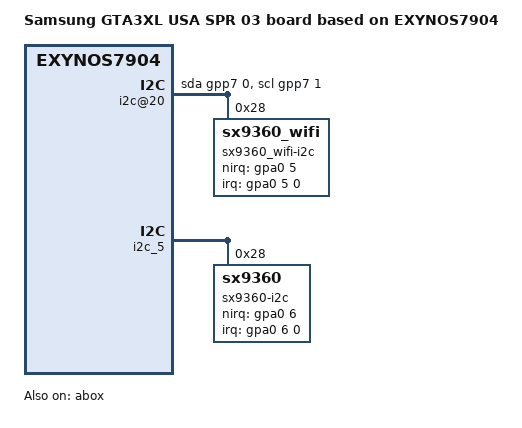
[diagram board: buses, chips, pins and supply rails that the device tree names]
/*
 * SAMSUNG EXYNOS7904 board device tree source

 *
 * Copyright (c) 2018 Samsung Electronics Co., Ltd.
 *		http://www.samsung.com
 *
 * This program is free software; you can redistribute it and/or modify
 * it under the terms of the GNU General Public License version 2 as
 * published by the Free Software Foundation.
*/

/dts-v1/;
/plugin/;

#include "exynos7904-gta3xl_common.dtsi"
#include "exynos7904-gta3xl_usa_spr_gpio_04.dtsi"
#include "ccic-s2mm005_gta3xllte_00.dtsi"
#include "modem-s327ap-sipc-highmem.dtsi"

/ {
	compatible = "samsung,GTA3XL USA SPR 03", "samsung,EXYNOS7904";

	dtbo-hw_rev = <4>;
    dtbo-hw_rev_end = <255>;


	fragment@model {
		target-path = "/";
		__overlay__ {
			#address-cells = <2>;
			#size-cells = <1>;

			model = "Samsung GTA3XL USA SPR 03 board based on EXYNOS7904";

			fm@14840000 {
				status = "okay";
				num-trfon-freq = <56>;
				val-trfon-freq = <87500 87600 88300 88400 89000 89100 89800 89900
					90600 90700 91300 91400 92100 92200 92900 93000 93600 93700
					94400 94500 95200 95300 96700 96800 97500 97600 98300 98400 99000 99800 99900 99100
					100000 100600 100700 101300 101400 101500 101600 102100 102200 102900 103000 103600
					103700 104000 104400 104500 105200 105300 105900 106000 106700 106800 107500 107600 >;
				spur-trfon-freq = <1536>;
			};
			
			i2c@20 {
				compatible = "i2c-gpio";
				gpios = <&gpp7 0 0
						&gpp7 1 0>;
				i2c-gpio,delay-us = <2>;
				pinctrl-names = "default";
				pinctrl-0 = <&grip_i2c>;
				#address-cells = <1>;
				#size-cells = <0>;
				status = "okay";

				sx9360_wifi-i2c@28 {
					compatible = "sx9360_wifi";
					pinctrl-names = "default";
					pinctrl-0 = <&grip_wifi_int>;
					reg = <0x28>;
					interrupt-parent = <&gpa0>;
					interrupts = <5 0 0>;
					sx9360_wifi,nirq-gpio = <&gpa0 5 0>; 

					sx9360_wifi,reggnrlctrl2 = <0x28>;		/* scanperiod: 81ms */
					sx9360_wifi,regafeparam1phm = <0x14>;	/* again : 9 pF, sampling freq : 125 khz */
					sx9360_wifi,regproxctrl0phm = <0x21>;	/* gain: x4, rawfilt : 1-1/2 */
					sx9360_wifi,regproxctrl5 = <0x37>;		/* threshold: 288 */
					sx9360_wifi,regproxctrl4 = <0x15>;		/* hysteresis: small, closedeb: 2 samples, fardeb: 2 samples */
					sx9360_wifi,regproxctrl3 = <0x0D>;		/* AVGPOSFILT: 1/512, AVGNEGFILT: 1/2 */
					sx9360_wifi,regafeparam0phm = <0x0E>;	/* resolution: 512 */
				};
			};

		}; /* end of __overlay__ */
	}; /* end of fragment */
}; /* end of root */

&abox {
	status = "okay";
		pinctrl-0 = <&aud_codec_mclk &aud_codec_bus &aud_fm_bus &aud_spk_bus &aud_loopback_bus>;
		pinctrl-1 = <&aud_codec_mclk_idle &aud_codec_bus_idle &aud_fm_bus_idle &aud_spk_bus_idle &aud_loopback_bus_idle>;

};

&pinctrl_1 { //148F0000
	aud_fm_bus: aud-fm-bus {
		samsung,pins = "gpb1-1", "gpb1-2", "gpb1-3";
		samsung,pin-function = <0>;
		samsung,pin-pud = <1>;
	};

	aud_fm_bus_idle: aud-fm-bus-idle {
		samsung,pins = "gpb1-1", "gpb1-2", "gpb1-3";
		samsung,pin-function = <0>;
		samsung,pin-pud = <1>;
	};
};

&i2c_5 {
	status = "okay";
	#address-cells = <1>;
	#size-cells = <0>;
	pinctrl-names = "default";
	pinctrl-0 = <&i2c5_bus>;

	sx9360-i2c@28 {
		compatible = "sx9360";
		pinctrl-names = "default";
		pinctrl-0 = <&grip_int>;
		reg = <0x28>;
		interrupt-parent = <&gpa0>;
		interrupts = <6 0 0>;
		sx9360,nirq-gpio = <&gpa0 6 0>;

		sx9360,reggnrlctrl2 = <0x28>;		/* scanperiod: 81ms */
		sx9360,regafeparam1phm = <0x22>;	/* again : 9 pF, sampling freq : 166.67 khz */
		sx9360,regproxctrl0phm = <0x21>;	/* gain: x4, rawfilt : 1-1/2 */
		sx9360,regproxctrl5 = <0x37>;		/* threshold: 388 */
		sx9360,regproxctrl4 = <0x15>;		/* hysteresis: small, closedeb: 2 samples, fardeb: 2 samples */
		sx9360,regproxctrl3 = <0x0D>;		/* AVGPOSFILT: 1/512, AVGNEGFILT: 1/2 */
		sx9360,regafeparam0phm = <0x0E>;	/* resolution: 512 */
	};
};
